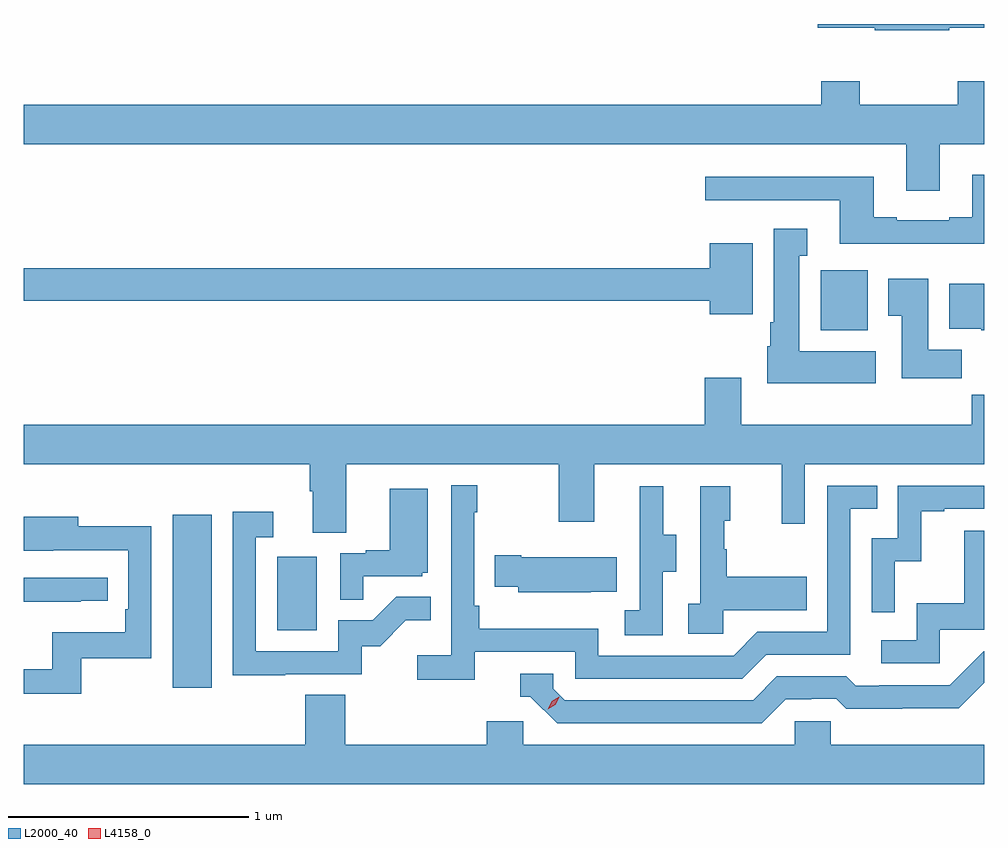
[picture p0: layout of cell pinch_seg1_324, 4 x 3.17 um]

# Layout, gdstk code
import gdstk
lib = gdstk.Library(unit=1e-6, precision=1e-09)
def R(c, l, rs):  # rectangles x0, y0, x1, y1
    for r in rs: c.add(gdstk.rectangle(r[:2], r[2:], *l))
def P(c, l, *ps):  # polygons
    for p in ps: c.add(gdstk.Polygon(p, *l))
L2000_40 = (2000, 40)
L4158_0 = (4158, 0)

pinch_seg1_324 = lib.new_cell('pinch_seg1_324')
R(pinch_seg1_324, L2000_40, [(996.053,552.132,996.214,552.853), (996.488,552.372,996.652,552.679), (998.751,553.622,998.947,553.872)])
P(pinch_seg1_324, L2000_40, [(999.287,554.881),(999.432,554.881),(999.432,554.897),(998.738,554.897),(998.738,554.881),(998.977,554.881),(998.977,554.871),(999.287,554.871)],
  [(999.247,554.396),(999.432,554.396),(999.432,554.659),(999.322,554.659),(999.322,554.56),(998.913,554.56),(998.913,554.659),(998.753,554.659),(998.753,554.56),(995.432,554.56),(995.432,554.396),(999.107,554.396),(999.107,554.202),(999.247,554.202)],
  [(999.432,554.269),(999.383,554.269),(999.383,554.092),(999.287,554.092),(999.287,554.079),(999.067,554.079),(999.067,554.092),(998.971,554.092),(998.971,554.26),(998.271,554.26),(998.271,554.163),(998.831,554.163),(998.831,553.982),(999.432,553.982)],
  [(998.98,553.534),(998.662,553.534),(998.662,553.931),(998.695,553.931),(998.695,554.044),(998.555,554.044),(998.555,553.654),(998.54,553.654),(998.54,553.554),(998.528,553.554),(998.528,553.4),(998.98,553.4)],
  [(998.467,553.984),(998.288,553.984),(998.288,553.88),(995.432,553.88),(995.432,553.744),(998.288,553.744),(998.288,553.688),(998.467,553.688)],
  [(999.338,553.54),(999.199,553.54),(999.199,553.837),(999.032,553.837),(999.032,553.681),(999.089,553.681),(999.089,553.422),(999.338,553.422)],
  [(999.432,553.816),(999.287,553.816),(999.287,553.628),(999.42,553.628),(999.42,553.622),(999.432,553.622)],
  [(996.775,553.064),(997.66,553.064),(997.66,552.825),(997.807,552.825),(997.807,553.064),(998.588,553.064),(998.588,552.816),(998.685,552.816),(998.685,553.064),(999.432,553.064),(999.432,553.352),(999.379,553.352),(999.379,553.228),(998.419,553.228),(998.419,553.423),(998.267,553.423),(998.267,553.228),(995.432,553.228),(995.432,553.064),(996.623,553.064),(996.623,552.952),(996.635,552.952),(996.635,552.778),(996.775,552.778)],
  [(997.31,552.282),(997.728,552.282),(997.728,552.171),(998.425,552.171),(998.524,552.27),(998.874,552.27),(998.874,552.879),(998.987,552.879),(998.987,552.975),(998.778,552.975),(998.778,552.366),(998.487,552.366),(998.388,552.267),(997.824,552.267),(997.824,552.379),(997.328,552.379),(997.328,552.475),(997.308,552.475),(997.308,552.863),(997.321,552.863),(997.321,552.976),(997.212,552.976),(997.212,552.268),(997.071,552.268),(997.071,552.166),(997.31,552.166)],
  [(999.06,552.659),(999.17,552.659),(999.17,552.867),(999.265,552.867),(999.265,552.879),(999.432,552.879),(999.432,552.975),(999.072,552.975),(999.072,552.756),(998.964,552.756),(998.964,552.447),(999.06,552.447)],
  [(998.346,552.455),(998.693,552.455),(998.693,552.595),(998.359,552.595),(998.359,552.71),(998.349,552.71),(998.349,552.828),(998.374,552.828),(998.374,552.973),(998.25,552.973),(998.25,552.482),(998.199,552.482),(998.199,552.357),(998.346,552.357)],
  [(998.094,552.616),(998.149,552.616),(998.149,552.771),(998.095,552.771),(998.095,552.973),(997.997,552.973),(997.997,552.759),(997.998,552.759),(997.998,552.455),(997.935,552.455),(997.935,552.352),(998.094,552.352)],
  [(996.845,552.597),(997.092,552.597),(997.092,552.612),(997.114,552.612),(997.114,552.961),(996.956,552.961),(996.956,552.706),(996.857,552.706),(996.857,552.693),(996.75,552.693),(996.75,552.499),(996.845,552.499)],
  [(996.521,552.189),(996.84,552.189),(996.84,552.306),(996.916,552.306),(997.023,552.413),(997.127,552.413),(997.127,552.512),(996.983,552.512),(996.885,552.414),(996.741,552.414),(996.741,552.285),(996.399,552.285),(996.399,552.759),(996.472,552.759),(996.472,552.865),(996.303,552.865),(996.303,552.184),(996.521,552.184)],
  [(995.671,552.255),(995.964,552.255),(995.964,552.806),(995.659,552.806),(995.659,552.844),(995.432,552.844),(995.432,552.704),(995.555,552.704),(995.555,552.705),(995.868,552.705),(995.868,552.46),(995.855,552.46),(995.855,552.364),(995.55,552.364),(995.55,552.209),(995.432,552.209),(995.432,552.108),(995.671,552.108)],
  [(999.246,552.375),(999.432,552.375),(999.432,552.787),(999.349,552.787),(999.349,552.484),(999.15,552.484),(999.15,552.33),(999.003,552.33),(999.003,552.234),(999.246,552.234)],
  [(997.793,552.533),(997.901,552.533),(997.901,552.676),(997.504,552.676),(997.504,552.684),(997.393,552.684),(997.393,552.554),(997.491,552.554),(997.491,552.53),(997.793,552.53)],
  [(995.669,552.495),(995.782,552.495),(995.782,552.591),(995.432,552.591),(995.432,552.49),(995.669,552.49)],
  [(998.605,552.084),(998.712,552.084),(998.712,552.087),(998.815,552.087),(998.857,552.045),(999.09,552.045),(999.09,552.047),(999.326,552.047),(999.432,552.153),(999.432,552.285),(999.429,552.285),(999.288,552.144),(998.995,552.144),(998.995,552.141),(998.896,552.141),(998.857,552.18),(998.568,552.18),(998.469,552.081),(997.686,552.081),(997.638,552.129),(997.638,552.192),(997.499,552.192),(997.499,552.096),(997.542,552.096),(997.653,551.985),(998.506,551.985)],
  [(999.432,551.896),(998.793,551.896),(998.793,551.994),(998.643,551.994),(998.643,551.896),(997.512,551.896),(997.512,551.994),(997.361,551.994),(997.361,551.896),(996.77,551.896),(996.77,552.104),(996.605,552.104),(996.605,551.896),(995.432,551.896),(995.432,551.732),(999.432,551.732)])
P(pinch_seg1_324, L4158_0, [(997.615,552.043),(997.615,552.043),(997.631,552.076),(997.662,552.095),(997.662,552.095),(997.662,552.094),(997.646,552.062),(997.615,552.043)])

lib.write_gds('pinch_seg1_324.gds')
